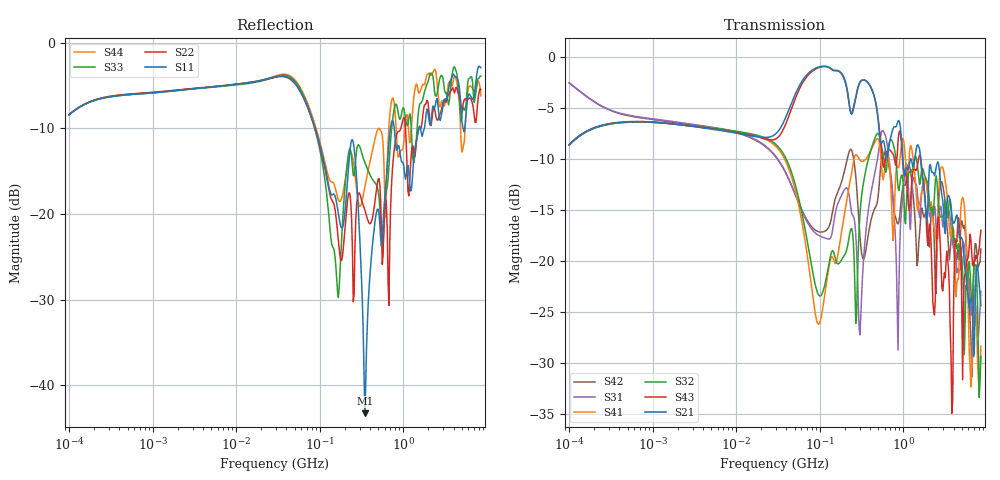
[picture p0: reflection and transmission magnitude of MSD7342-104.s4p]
# MHz S MA R 50
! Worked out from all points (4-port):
!   498 points, 100 kHz to 8.5 GHz, reference 50 ohm
!   strongest paths, dB at 100 kHz, 1.698 MHz, 29.49 MHz, 500.7 MHz, 8.5 GHz:
!     S21: -8.6, -6.5, -7.6, -6.2, -24.4
!     S43: -8.6, -6.6, -8.1, -6.0, -17.0
!     S32: -8.6, -6.6, -8.5, -7.5, -29.4
!     S41: -8.7, -6.6, -8.7, -8.0, -28.4
!     S31: -2.6, -6.3, -9.7, -9.6, -23.0
!     S42: -2.5, -6.4, -9.8, -13.7, -18.8
!   lowest |S11| = -43.3 dB at 347.4 MHz (marker M1), VSWR 1.01, Z = 49.7 + j0.595 ohm
!   |S11| at or under -10 dB: 88.39 MHz to 702.8 MHz (614.5 MHz wide, 155 % of centre); 779.7 MHz to 1.535 GHz (755 MHz wide, 65.2 % of centre); 5.206 GHz to 5.447 GHz (240.8 MHz wide, 4.52 % of centre)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
0.1  0.379 39.8  0.3706 40.0  0.7454 -19.3  0.3688 -140.4
     0.3706 40.0  0.3801 39.9  0.3695 -140.5  0.7463 -19.5
     0.7454 -19.3  0.3695 -140.5  0.3783 40.0  0.3713 39.9
     0.3688 -140.4  0.7463 -19.5  0.3713 39.9  0.3804 40.2
46.56243  0.6054 -44.8  0.6011 24.0  0.2313 -177.0  0.2542 19.0
          0.6011 24.0  0.5997 -46.1  0.2675 18.7  0.2314 -177.4
          0.2313 -177.0  0.2675 18.7  0.6188 -43.3  0.5657 24.6
          0.2542 19.0  0.2314 -177.4  0.5657 24.6  0.6283 -42.5
252.3442  0.2613 -87.8  0.549 -45.6  0.1658 -21.1  0.3025 28.6
          0.549 -45.6  0.03069 -64.9  0.1247 -9.4  0.3244 -25.5
          0.1658 -21.1  0.1247 -9.4  0.1673 -21.1  0.5633 -49.5
          0.3025 28.6  0.3244 -25.5  0.5633 -49.5  0.203 -130.4
347.4163  0.006858 119.1  0.7681 -71.4  0.1233 28.3  0.3116 -13.6
          0.7681 -71.4  0.1053 -48.9  0.2641 23.3  0.1062 -22.9
          0.1233 28.3  0.2641 23.3  0.2001 -47.7  0.7676 -78.1
          0.3116 -13.6  0.1062 -22.9  0.7676 -78.1  0.1441 55.3
721.5017  0.3404 -38.7  0.4161 -117.6  0.253 -128.3  0.2013 -123.3
          0.4161 -117.6  0.143 -2.8  0.3924 -96.3  0.2362 -119.5
          0.253 -128.3  0.3924 -96.3  0.3029 -24.3  0.3422 -140.8
          0.2013 -123.3  0.2362 -119.5  0.3422 -140.8  0.4522 -52.2
2062.915  0.338 96.6  0.2919 73.2  0.1645 58.0  0.1859 50.0
          0.2919 73.2  0.3714 93.7  0.1903 47.7  0.117 62.9
          0.1645 58.0  0.1903 47.7  0.6414 104.5  0.1515 12.6
          0.1859 50.0  0.117 62.9  0.1515 12.6  0.6656 91.6
8500  0.7138 -65.1  0.06037 22.0  0.07111 -5.0  0.03818 -19.7
      0.06037 22.0  0.5313 -66.2  0.03402 -33.6  0.1142 -83.6
      0.07111 -5.0  0.03402 -33.6  0.6381 -61.6  0.1414 15.3
      0.03818 -19.7  0.1142 -83.6  0.1414 15.3  0.4886 -92.6
